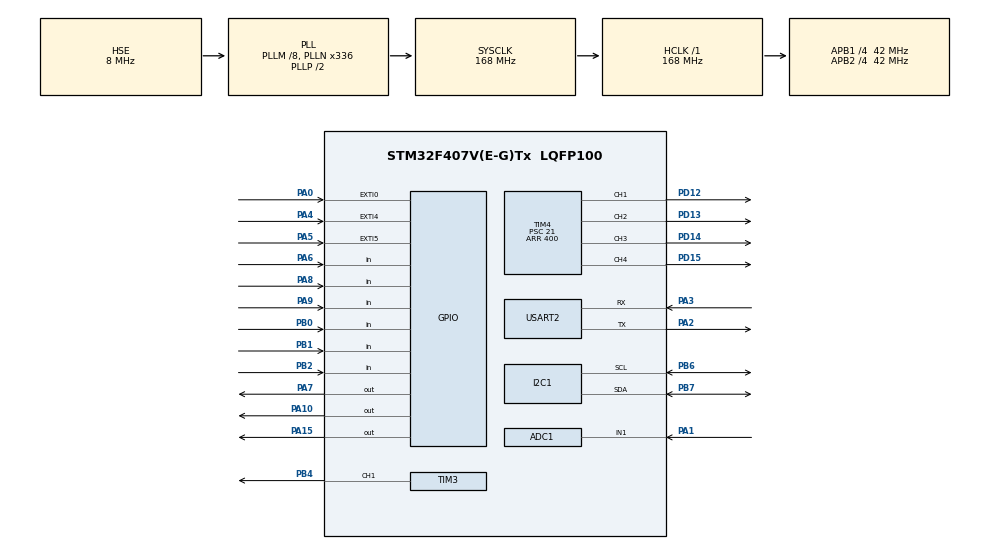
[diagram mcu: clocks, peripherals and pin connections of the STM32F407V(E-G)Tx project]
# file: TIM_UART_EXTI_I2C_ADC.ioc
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ADC1.Channel-0\#ChannelRegularConversion=ADC_CHANNEL_1
ADC1.ClockPrescaler=ADC_CLOCK_SYNC_PCLK_DIV2
ADC1.ContinuousConvMode=DISABLE
ADC1.DMAContinuousRequests=DISABLE
ADC1.DataAlign=ADC_DATAALIGN_RIGHT
ADC1.DiscontinuousConvMode=DISABLE
ADC1.EOCSelection=ADC_EOC_SINGLE_CONV
ADC1.EnableAnalogWatchDog=false
ADC1.ExternalTrigConvEdge=ADC_EXTERNALTRIGCONVEDGE_NONE
ADC1.InjNumberOfConversion=0
ADC1.NbrOfConversion=1
ADC1.NbrOfConversionFlag=1
ADC1.Rank-0\#ChannelRegularConversion=1
ADC1.Resolution=ADC_RESOLUTION_12B
ADC1.SamplingTime-0\#ChannelRegularConversion=ADC_SAMPLETIME_480CYCLES
ADC1.ScanConvMode=DISABLE
ADC1.master=1
Dma.I2C1_RX.1.Channel=DMA_CHANNEL_1
Dma.I2C1_RX.1.Direction=DMA_PERIPH_TO_MEMORY
Dma.I2C1_RX.1.FIFOMode=DMA_FIFOMODE_DISABLE
Dma.I2C1_RX.1.Instance=DMA1_Stream0
Dma.I2C1_RX.1.MemDataAlignment=DMA_MDATAALIGN_BYTE
Dma.I2C1_RX.1.MemInc=DMA_MINC_ENABLE
Dma.I2C1_RX.1.Mode=DMA_CIRCULAR
Dma.I2C1_RX.1.PeriphDataAlignment=DMA_PDATAALIGN_BYTE
Dma.I2C1_RX.1.PeriphInc=DMA_PINC_DISABLE
Dma.I2C1_RX.1.Priority=DMA_PRIORITY_LOW
Dma.Request0=USART2_RX
Dma.Request1=I2C1_RX
Dma.USART2_RX.0.Channel=DMA_CHANNEL_4
Dma.USART2_RX.0.Direction=DMA_PERIPH_TO_MEMORY
Dma.USART2_RX.0.FIFOMode=DMA_FIFOMODE_DISABLE
Dma.USART2_RX.0.Instance=DMA1_Stream5
Dma.USART2_RX.0.MemDataAlignment=DMA_MDATAALIGN_BYTE
Dma.USART2_RX.0.MemInc=DMA_MINC_ENABLE
Dma.USART2_RX.0.Mode=DMA_CIRCULAR
Dma.USART2_RX.0.PeriphDataAlignment=DMA_PDATAALIGN_BYTE
Dma.USART2_RX.0.PeriphInc=DMA_PINC_DISABLE
Dma.USART2_RX.0.Priority=DMA_PRIORITY_LOW
I2C1.I2C_Mode=I2C_Standard
Mcu.Family=STM32F4
Mcu.Name=STM32F407V(E-G)Tx
Mcu.Package=LQFP100
NVIC.ADC_IRQn=true\:0\:0\:false\:false\:true
NVIC.DMA1_Stream0_IRQn=true\:0\:0\:false\:false\:true
NVIC.DMA1_Stream5_IRQn=true\:0\:0\:false\:false\:true
NVIC.EXTI0_IRQn=true\:0\:0\:true\:false\:true
NVIC.EXTI4_IRQn=true\:1\:0\:true\:false\:true
NVIC.EXTI9_5_IRQn=true\:0\:0\:false\:false\:true
NVIC.I2C1_ER_IRQn=true\:0\:0\:false\:false\:true
NVIC.I2C1_EV_IRQn=true\:4\:0\:true\:false\:true
NVIC.PriorityGroup=NVIC_PRIORITYGROUP_4
NVIC.TIM2_IRQn=true\:2\:0\:true\:false\:true
NVIC.USART2_IRQn=true\:5\:0\:true\:false\:true
PA0-WKUP.GPIO_ModeDefaultEXTI=GPIO_MODE_IT_RISING
PA0-WKUP.Signal=GPXTI0
PA1.Signal=ADCx_IN1
PA10.GPIO_PuPd=GPIO_PULLDOWN
PA10.GPIO_Speed=GPIO_SPEED_FREQ_VERY_HIGH
PA10.PinState=GPIO_PIN_RESET
PA10.Signal=GPIO_Output
PA15.GPIO_PuPd=GPIO_PULLDOWN
PA15.GPIO_Speed=GPIO_SPEED_FREQ_VERY_HIGH
PA15.Signal=GPIO_Output
PA2.Mode=Asynchronous
PA2.Signal=USART2_TX
PA3.Mode=Asynchronous
PA3.Signal=USART2_RX
PA4.GPIO_PuPd=GPIO_PULLDOWN
PA4.Signal=GPXTI4
PA5.GPIO_PuPd=GPIO_PULLDOWN
PA5.Signal=GPXTI5
PA6.GPIO_PuPd=GPIO_PULLDOWN
PA6.Signal=GPIO_Input
PA7.GPIO_PuPd=GPIO_PULLDOWN
PA7.GPIO_Speed=GPIO_SPEED_FREQ_VERY_HIGH
PA7.Signal=GPIO_Output
PA8.GPIO_PuPd=GPIO_PULLDOWN
PA8.Signal=GPIO_Input
PA9.GPIO_PuPd=GPIO_PULLDOWN
PA9.Signal=GPIO_Input
PB0.GPIO_PuPd=GPIO_PULLDOWN
PB0.Signal=GPIO_Input
PB1.GPIO_PuPd=GPIO_PULLDOWN
PB1.Signal=GPIO_Input
PB2.GPIO_PuPd=GPIO_PULLDOWN
PB2.Signal=GPIO_Input
PB4.GPIO_Speed=GPIO_SPEED_FREQ_VERY_HIGH
PB4.Signal=S_TIM3_CH1
PB6.Mode=I2C
PB6.Signal=I2C1_SCL
PB7.Mode=I2C
PB7.Signal=I2C1_SDA
PD12.GPIO_ModeDefaultPP=GPIO_MODE_AF_PP
PD12.GPIO_PuPd=GPIO_NOPULL
PD12.GPIO_Speed=GPIO_SPEED_FREQ_VERY_HIGH
PD12.Signal=S_TIM4_CH1
PD13.GPIO_ModeDefaultPP=GPIO_MODE_AF_PP
PD13.GPIO_PuPd=GPIO_NOPULL
PD13.GPIO_Speed=GPIO_SPEED_FREQ_VERY_HIGH
PD13.Signal=S_TIM4_CH2
PD14.GPIO_ModeDefaultPP=GPIO_MODE_AF_PP
PD14.GPIO_PuPd=GPIO_NOPULL
PD14.GPIO_Speed=GPIO_SPEED_FREQ_VERY_HIGH
PD14.Signal=S_TIM4_CH3
PD15.GPIO_Speed=GPIO_SPEED_FREQ_VERY_HIGH
PD15.Signal=S_TIM4_CH4
PH0-OSC_IN.Mode=HSE-External-Oscillator
PH0-OSC_IN.Signal=RCC_OSC_IN
PH1-OSC_OUT.Mode=HSE-External-Oscillator
PH1-OSC_OUT.Signal=RCC_OSC_OUT
ProjectManager.HeapSize=0x200
ProjectManager.StackSize=0x400
ProjectManager.TargetToolchain=MDK-ARM V5
RCC.48MHZClocksFreq_Value=84000000
RCC.AHBFreq_Value=168000000
RCC.APB1CLKDivider=RCC_HCLK_DIV4
RCC.APB1Freq_Value=42000000
RCC.APB1TimFreq_Value=84000000
RCC.APB2CLKDivider=RCC_HCLK_DIV4
RCC.APB2Freq_Value=42000000
RCC.APB2TimFreq_Value=84000000
RCC.CortexFreq_Value=168000000
RCC.HCLKFreq_Value=168000000
RCC.HSE_VALUE=8000000
RCC.HSI_VALUE=16000000
RCC.LSE_VALUE=32768
RCC.PLLM=8
RCC.PLLN=336
RCC.PLLSourceVirtual=RCC_PLLSOURCE_HSE
RCC.SYSCLKFreq_VALUE=168000000
RCC.SYSCLKSource=RCC_SYSCLKSOURCE_PLLCLK
RCC.VCOOutputFreq_Value=336000000
SH.ADCx_IN1.0=ADC1_IN1,IN1
SH.S_TIM3_CH1.0=TIM3_CH1,PWM Generation1 CH1
SH.S_TIM4_CH1.0=TIM4_CH1,PWM Generation1 CH1
SH.S_TIM4_CH2.0=TIM4_CH2,PWM Generation2 CH2
SH.S_TIM4_CH3.0=TIM4_CH3,PWM Generation3 CH3
SH.S_TIM4_CH4.0=TIM4_CH4,PWM Generation4 CH4
TIM2.Period=1999
TIM2.Prescaler=42000
TIM3.Period=400
TIM3.Prescaler=21
TIM4.Channel-PWM\ Generation2\ CH2=TIM_CHANNEL_2
TIM4.Channel-PWM\ Generation3\ CH3=TIM_CHANNEL_3
TIM4.Channel-PWM\ Generation4\ CH4=TIM_CHANNEL_4
TIM4.Period=400
TIM4.Prescaler=21
VP_TIM2_VS_ClockSourceINT.Mode=Internal
VP_TIM3_VS_ClockSourceINT.Mode=Internal
VP_TIM4_VS_ClockSourceINT.Mode=Internal
board=TIM_UART_EXTI_I2C_ADC

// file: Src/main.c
#include "stm32f4xx_hal.h"

ADC_HandleTypeDef hadc1;

I2C_HandleTypeDef hi2c1;
DMA_HandleTypeDef hdma_i2c1_rx;

TIM_HandleTypeDef htim2;
TIM_HandleTypeDef htim3;
TIM_HandleTypeDef htim4;

UART_HandleTypeDef huart2;
DMA_HandleTypeDef hdma_usart2_rx;

/* USER CODE BEGIN PV */
/* Private variables ---------------------------------------------------------*/
uint8_t send_data[20], send_data_temp[20],i=0,receive_data[9],echo_receive_data[1],count=0;
char* data="92345\r";
uint16_t duty0=0,duty1=0,duty2=0,duty3=0,tmp_duty3=0,duty4=0,tmp_duty4=0,C=0,D=0,Output=0,Output1=0;
uint16_t start_hour=0,start_minute=0,time_out=0;
uint32_t pre_Pulse=0,Pulse=0,pulse=0,p=500,TocDoDat=0,Sampling_time=200,inv_Sampling_time=5;
uint32_t pre_Pulse1=0,Pulse1=0,pulse1=0,p1=500,TocDoDat1=0,time_copy=0,time=0;
uint32_t pre_Pulse2=0,Pulse2=0,pulse2=0,p2=500,TocDoDat2=0;
float Distance,Show = 0,Kp,Ki,Kd;
signed long des_Speed=400,rSpeed=0,Err=0,pre_Err=0,pre_pre_Err=0;
signed long rSpeed1=0,Err1=0,pre_Err1=0,pre_pre_Err1=0;
signed long rSpeed2=0,Err2=0,pre_Err2=0,pre_pre_Err2=0;
int start=0,run=0,sample_count=0,au=0,motor1=0,motor2=0,motor3=0,a=0,b=0,report=0,one_loop=0;
uint16_t stop_hour=0,stop_minute=0;
uint16_t adc_value,adc;
#define DS3231_ADD (0x68<<1)
#define DS3231_REG_TIME (0X00)
#define DS3231_REG_ALARM1 (0x07)
#define DS3231_REG_ALARM2 (0x0B)
#define DS3231_REG_CTRL (0x0E)
#define DS3231_REG_STATUS (0x0F)
#define DS3231_REG_TEMPERATURE (0x11)

typedef struct{
uint8_t sec;
uint8_t min;
uint8_t hour;
uint8_t day;
uint8_t date;
uint8_t month;
uint8_t year;

uint8_t I2C_Buffer[8];
}DS3231_t;
DS3231_t DS3231;
/* USER CODE END PV */

void SystemClock_Config(void);
static void MX_GPIO_Init(void);
static void MX_DMA_Init(void);
static void MX_TIM4_Init(void);
static void MX_USART2_UART_Init(void);
static void MX_I2C1_Init(void);
static void MX_ADC1_Init(void);
static void MX_TIM2_Init(void);
static void MX_TIM3_Init(void);

void HAL_TIM_MspPostInit(TIM_HandleTypeDef *htim);

void Motorpid(void);
void Motorpid_1(void);
void Duty_Config(void);
void Sonic(void);
void Go_Straight (void);
void Go_Back (void);
void Go_Left (void);
void Go_Right (void);
void Stop (void);
void Send_Data(void);
void Analyze_RecieveArray(void);
void Zigziag_Mode(void);

void HAL_TIM_MspPostInit(TIM_HandleTypeDef *htim);
uint8_t RTC_BCD2DEC(uint8_t e);
uint8_t RTC_DEC2BCD(uint8_t e);
void DEC_ASCII_3(uint16_t adc, uint8_t send_data_temp[20], uint8_t i);
void DEC_ASCII_2(uint8_t num, uint8_t send_data_temp[20], uint8_t i);
void I2C_WriteBuffer(I2C_HandleTypeDef hi, uint8_t DEV_ADDR, uint8_t sizebuf);
void I2C_ReadBuffer(I2C_HandleTypeDef hi, uint8_t DEV_ADDR, uint8_t sizebuf);
void RTC_GetTime(void);
void RTC_SetTime(uint8_t hour,uint8_t min,uint8_t sec,uint8_t day,uint8_t date,uint8_t month,uint8_t year);

void DEC_ASCII_3(uint16_t adc, uint8_t send_data_temp[20], uint8_t i)
{
	send_data_temp[i]=adc/100+48;
	send_data_temp[i+1]=(adc%100)/10+48;
	send_data_temp[i+2]=adc%10+48;
}

void DEC_ASCII_2(uint8_t num, uint8_t send_data_temp[20], uint8_t i)
{
	send_data_temp[i]=num/10+48;
	send_data_temp[i+1]=num%10+48;
}
uint8_t RTC_BCD2DEC(uint8_t e)
{
	return (e>>4)*10 + (e&0x0F);
}

uint8_t RTC_DEC2BCD(uint8_t e)
{
	return (e/10)<<4 | (e%10);
}

void I2C_WriteBuffer(I2C_HandleTypeDef hi, uint8_t DEV_ADDR, uint8_t sizebuf)
{
	while (HAL_I2C_Master_Transmit(&hi, (uint16_t) DEV_ADDR, (uint8_t*) &DS3231.I2C_Buffer, (uint16_t) sizebuf, (uint32_t)1000))
		{
			if(HAL_I2C_GetError(&hi) != HAL_I2C_ERROR_AF)
				{
					printf("Write Buffer Error\r\n");
				}
		}
}

void I2C_ReadBuffer(I2C_HandleTypeDef hi, uint8_t DEV_ADDR, uint8_t sizebuf)
{
	while(HAL_I2C_Master_Receive(&hi, (uint16_t) DEV_ADDR, (uint8_t*) &DS3231.I2C_Buffer, (uint16_t) sizebuf, (uint32_t)1000))
		{
			if(HAL_I2C_GetError(&hi) != HAL_I2C_ERROR_AF)
				{
					printf("Read Buffer Error\r\n");
				}
		}
}

void RTC_GetTime(void)
{
	//Bat dau qua trinh nhan du lieu tu thanh ghi 0x00
	DS3231.I2C_Buffer[0]=0x00;
	I2C_WriteBuffer(hi2c1,(uint16_t) DS3231_ADD,1);
	while (HAL_I2C_GetState(&hi2c1) != HAL_I2C_STATE_READY);
	I2C_ReadBuffer(hi2c1,(uint16_t) DS3231_ADD,7);

	DS3231.sec = RTC_BCD2DEC(DS3231.I2C_Buffer[0]);
	DS3231.min = RTC_BCD2DEC(DS3231.I2C_Buffer[1]);
	DS3231.hour = RTC_BCD2DEC(DS3231.I2C_Buffer[2]);
	DS3231.day = RTC_BCD2DEC(DS3231.I2C_Buffer[3]);
	DS3231.date = RTC_BCD2DEC(DS3231.I2C_Buffer[4]);
	DS3231.month = RTC_BCD2DEC(DS3231.I2C_Buffer[5]);
	DS3231.year = RTC_BCD2DEC(DS3231.I2C_Buffer[6]);
}

void RTC_SetTime(uint8_t hour,uint8_t min,uint8_t sec,uint8_t day,uint8_t date,uint8_t month,uint8_t year)
{
	DS3231.I2C_Buffer[0] = 0x00;
	DS3231.I2C_Buffer[1] = RTC_DEC2BCD(sec);
	DS3231.I2C_Buffer[2] = RTC_DEC2BCD(min);
	DS3231.I2C_Buffer[3] = RTC_DEC2BCD(hour);
	DS3231.I2C_Buffer[4] = RTC_DEC2BCD(day);
	DS3231.I2C_Buffer[5] = RTC_DEC2BCD(date);
	DS3231.I2C_Buffer[6] = RTC_DEC2BCD(month);
	DS3231.I2C_Buffer[7] = RTC_DEC2BCD(year);

	I2C_WriteBuffer(hi2c1,(uint16_t) DS3231_ADD,8);
	HAL_Delay(100);
}

void delay_us(uint16_t period){

   __HAL_RCC_TIM6_CLK_ENABLE();
     TIM6->PSC = 83;      // clk = SystemCoreClock /2/(PSC+1) = 1MHz
     TIM6->ARR = period-1;
     TIM6->CNT = 0;
     TIM6->EGR = 1;      // update registers;

     TIM6->SR  = 0;      // clear overflow flag
     TIM6->CR1 = 1;      // enable Timer6

     while (!TIM6->SR);

     TIM6->CR1 = 0;      // stop Timer6
     //RCC_APB1PeriphClockCmd(RCC_APB1Periph_TIM6, DISABLE);
   __HAL_RCC_TIM6_CLK_DISABLE();
}
void delay_01ms(uint16_t period){

   __HAL_RCC_TIM6_CLK_ENABLE();
     //RCC_APB1PeriphClockCmd(RCC_APB1Periph_TIM6, ENABLE);
     TIM6->PSC = 8399;      // clk = SystemCoreClock /2 /(PSC+1) = 10KHz
     TIM6->ARR = period-1;
     TIM6->CNT = 0;
     TIM6->EGR = 1;      // update registers;

     TIM6->SR  = 0;      // clear overflow flag
     TIM6->CR1 = 1;      // enable Timer6

     while (!TIM6->SR);

     TIM6->CR1 = 0;      // stop Timer6
     //RCC_APB1PeriphClockCmd(RCC_APB1Periph_TIM6, DISABLE);
   __HAL_RCC_TIM6_CLK_DISABLE();
}

int main(void)
{
  /* Reset of all peripherals, Initializes the Flash interface and the Systick. */
  HAL_Init();

  /* Configure the system clock */
  SystemClock_Config();

  /* Initialize all configured peripherals */
  MX_GPIO_Init();
  MX_DMA_Init();
  MX_TIM4_Init();
  MX_USART2_UART_Init();
  MX_I2C1_Init();
  MX_ADC1_Init();
  MX_TIM2_Init();
  MX_TIM3_Init();

	 HAL_TIM_PWM_Start(&htim4,TIM_CHANNEL_1);
   HAL_TIM_PWM_Start(&htim4,TIM_CHANNEL_2);
   HAL_TIM_PWM_Start(&htim4,TIM_CHANNEL_3);
   HAL_TIM_PWM_Start(&htim4,TIM_CHANNEL_4);
	 HAL_TIM_PWM_Start(&htim3,TIM_CHANNEL_1);
	 HAL_TIM_Base_Start_IT(&htim2);
	 HAL_UART_Receive_DMA(&huart2,receive_data,9);

  /* USER CODE BEGIN WHILE */
  while (1)
  {
		RTC_GetTime();
		HAL_ADC_Start_IT(&hadc1);
		HAL_Delay(100);
		HAL_ADC_Stop_IT(&hadc1);
		//Analyze_RecieveArray();
		Send_Data();

		des_Speed=400;					//set up setpoint PID
		Kp=0.05;
		Ki=0.01;
		Kd=0;
		duty4=200;
		if (start==1)
			{
				if(au==1&&run==1)
				{
					Go_Straight();
				}

				if(au==0)
				{		duty3= tmp_duty3;duty4= tmp_duty4;
						if(receive_data[0]=='t')Go_Left();		//trai
						if(receive_data[0]=='p')Go_Right();		//phai
						if(receive_data[0]=='h')Go_Straight();//di thang
						if(receive_data[0]=='d')Stop();				//dung lai
						if(receive_data[0]=='l')Go_Back();		//di lui
				}
			}

  }
  /* USER CODE END 3 */

}

void Send_Data(void)
{
		//send value
		DEC_ASCII_3(adc_value*100/4096,send_data,0); //ADC value (battery)
		DEC_ASCII_3(100-adc_value*100/4096,send_data,3); //COMPLETE VALUE
		//send time
		DEC_ASCII_2(DS3231.sec,send_data,6);		//second
		DEC_ASCII_2(DS3231.min,send_data,8);		//minutes
		DEC_ASCII_2(DS3231.hour,send_data,10);		//hours
		DEC_ASCII_2(DS3231.date,send_data,12);		//day
		DEC_ASCII_2(DS3231.month,send_data,14);		//month
		send_data[17]= '\r';
		HAL_UART_Transmit_IT(&huart2,(uint8_t  *)send_data,18);

}

void Analyze_RecieveArray(void)
{
		if(receive_data[0]=='S')
				{
						start=1;report=0;tmp_duty4=200;
						if(receive_data[1]=='L')tmp_duty3=250;
						if(receive_data[1]=='M')tmp_duty3=325;
						if(receive_data[1]=='H')tmp_duty3=400;
						if(receive_data[8]=='a')au=1;
						if(receive_data[8]=='m')au=0;
						  time_out=(receive_data[2]-48)*10+(receive_data[3]-48);
							start_hour=(receive_data[4]-48)*10+(receive_data[5]-48);
							start_minute=(receive_data[6]-48)*10+(receive_data[7]-48);
							stop_hour=(start_hour*60+start_minute+time_out)/60;
							stop_minute=(start_hour*60+start_minute+time_out)%60;
				}
		if(receive_data[0]=='D')
				{
					start=0;
					report=1;
					Stop();
					duty3=0;tmp_duty3=0;
					duty4=0;tmp_duty4=0;
				}
		send_data[16]='0';
		if((DS3231.hour==start_hour&&DS3231.min==start_minute)||(start_hour==0&&start_minute==0))
		{run=1;duty3=tmp_duty3;duty4=tmp_duty4;}
		else if(DS3231.hour>=stop_hour&&DS3231.min>=stop_minute&&time_out!=0&&run==1)
		{run=0;Stop();duty3=0;duty4=0;send_data[16]='s';}
}

void Zigziag_Mode(void)
{				//Sonic();
						if(HAL_GPIO_ReadPin(GPIOB,GPIO_PIN_0) == 1 ||HAL_GPIO_ReadPin(GPIOB,GPIO_PIN_1) == 0||HAL_GPIO_ReadPin(GPIOA,GPIO_PIN_7) == 0|| Show<3)
										 {
											if(b==1)
											 {Stop();HAL_Delay(1000);
												 b=0;
												 }
											 Go_Back();
											  //HAL_Delay(2000);
												a=1;
										 }
						 else
										 {
											 if(a==1)
												 {
												Stop();HAL_Delay(1000);
												Go_Left();HAL_Delay(2000);
												a=0;
													}
												Go_Straight();
													b=1;
										 }
}

void HAL_ADC_ConvCpltCallback(ADC_HandleTypeDef* hadc)
{
	if(hadc->Instance == hadc1.Instance)
	{
			adc_value = HAL_ADC_GetValue(hadc);
	}
}

void Go_Straight (void)
{
	motor1=1;motor2=1;
//	duty0=200;duty2=200;
}
void Go_Back (void)
{
	motor3=1;
//	duty1=200;
}
void Go_Left (void)
{
	motor1=1;
//	duty0=200;
}
void Go_Right (void)
{
	motor2=1;
//	duty2=200;
}
void Stop(void)
{
	motor1=0,motor2=0,motor3=0;
	duty0=0;duty1=0;duty2=0;
	Output=0;Output1=0;

}

void Motorpid_1(void)
{

rSpeed=(Pulse-pre_Pulse)*300/400; //tinh van toc (trong sampling time)
pre_Pulse=Pulse;
Err=des_Speed-rSpeed;
Output = Output+Kp*Err+Ki*Sampling_time*(Err+pre_Err)/(2000)+Kd*(Err-2*pre_Err+pre_pre_Err)*inv_Sampling_time;
if (Output >700) Output=400;
if (Output <=0) Output=0;
if(motor1==1)duty1=Output;
if (motor3==1)duty0=Output;
if(motor1==0 && motor3==0)Output=0;
//Duty_Config();
pre_pre_Err= pre_Err;
pre_Err=Err;
}

void Motorpid_2(void)
{
rSpeed1=(Pulse1-pre_Pulse1)*300/400; //tinh van toc (trong sampling time)
pre_Pulse1=Pulse1;
Err1=des_Speed-rSpeed1;
Output1 = Output1+Kp*Err1+Ki*Sampling_time*(Err1+pre_Err1)/(2000)+Kd*(Err1-2*pre_Err1+pre_pre_Err1)*inv_Sampling_time;
if (Output1 >700) Output1=400;
if (Output1 <=0) Output1=0;
if(motor2==1)duty2=Output1;
if(motor2==0)Output1=0;
//Duty_Config();
pre_pre_Err1= pre_Err1;
pre_Err1=Err1;
}

void HAL_TIM_PeriodElapsedCallback(TIM_HandleTypeDef *htim)
{
	if(htim->Instance==htim2.Instance)
	{
		C=300*pulse/400;
		D=300*pulse1/400;
		Motorpid_1();
		Motorpid_2();
		pulse=0;pulse1=0;
		Duty_Config();
		//sample_count++;
		//Duty_Config();
	}
}

void HAL_GPIO_EXTI_Callback(uint16_t GPIO_Pin)
{
		if(GPIO_Pin==GPIO_PIN_5)
		{
				Pulse++;
				pulse++;
					//while(HAL_GPIO_ReadPin(GPIOA,GPIO_PIN_0));
		}
		if(GPIO_Pin==GPIO_PIN_4)
		{
				Pulse1++;
				pulse1++;
					//   HAL_GPIO_TogglePin(GPIOD,GPIO_PIN_13);
				 //while(HAL_GPIO_ReadPin(GPIOA,GPIO_PIN_4));
		}

}

void Duty_Config(void)
{			__HAL_TIM_SetCompare(&htim4,TIM_CHANNEL_1,duty0);		//motor driver
      __HAL_TIM_SetCompare(&htim4,TIM_CHANNEL_2,duty1);		//motor driver
      __HAL_TIM_SetCompare(&htim4,TIM_CHANNEL_3,duty2);		//motor driver
      __HAL_TIM_SetCompare(&htim4,TIM_CHANNEL_4,duty3);		//vacuum cleaner

			__HAL_TIM_SetCompare(&htim3,TIM_CHANNEL_1,duty4);		//motor clean
}

void Sonic(void)
{
 HAL_GPIO_WritePin(GPIOA, GPIO_PIN_10, GPIO_PIN_RESET);
     delay_us(2); //2 micro seconds

      //then we create a pulse for 10us
         HAL_GPIO_WritePin(GPIOA, GPIO_PIN_10, GPIO_PIN_SET);
         delay_us(10);
         HAL_GPIO_WritePin(GPIOA, GPIO_PIN_10, GPIO_PIN_RESET);

         time=0;

      while (HAL_GPIO_ReadPin(GPIOA,GPIO_PIN_8) == 0);
      while (HAL_GPIO_ReadPin(GPIOA,GPIO_PIN_8))
      {
         time++;
         delay_us(2); // delay 2 us
         time_copy=time;
         Distance=(float)(time_copy*0.0346);
      }
			  HAL_Delay(50);
}

/** System Clock Configuration
*/

/** System Clock Configuration
*/
/* USER CODE END PV */

/** System Clock Configuration
*/
void SystemClock_Config(void)
{

  RCC_OscInitTypeDef RCC_OscInitStruct;
  RCC_ClkInitTypeDef RCC_ClkInitStruct;

  __HAL_RCC_PWR_CLK_ENABLE();

  __HAL_PWR_VOLTAGESCALING_CONFIG(PWR_REGULATOR_VOLTAGE_SCALE1);

  RCC_OscInitStruct.OscillatorType = RCC_OSCILLATORTYPE_HSE;
  RCC_OscInitStruct.HSEState = RCC_HSE_ON;
  RCC_OscInitStruct.PLL.PLLState = RCC_PLL_ON;
  RCC_OscInitStruct.PLL.PLLSource = RCC_PLLSOURCE_HSE;
  RCC_OscInitStruct.PLL.PLLM = 8;
  RCC_OscInitStruct.PLL.PLLN = 336;
  RCC_OscInitStruct.PLL.PLLP = RCC_PLLP_DIV2;
  RCC_OscInitStruct.PLL.PLLQ = 4;
  HAL_RCC_OscConfig(&RCC_OscInitStruct);

  RCC_ClkInitStruct.ClockType = RCC_CLOCKTYPE_HCLK|RCC_CLOCKTYPE_SYSCLK
                              |RCC_CLOCKTYPE_PCLK1|RCC_CLOCKTYPE_PCLK2;
  RCC_ClkInitStruct.SYSCLKSource = RCC_SYSCLKSOURCE_PLLCLK;
  RCC_ClkInitStruct.AHBCLKDivider = RCC_SYSCLK_DIV1;
  RCC_ClkInitStruct.APB1CLKDivider = RCC_HCLK_DIV4;
  RCC_ClkInitStruct.APB2CLKDivider = RCC_HCLK_DIV4;
  HAL_RCC_ClockConfig(&RCC_ClkInitStruct, FLASH_LATENCY_5);

  HAL_SYSTICK_Config(HAL_RCC_GetHCLKFreq()/1000);

  HAL_SYSTICK_CLKSourceConfig(SYSTICK_CLKSOURCE_HCLK);

  /* SysTick_IRQn interrupt configuration */
  HAL_NVIC_SetPriority(SysTick_IRQn, 0, 0);
}

/* ADC1 init function */
void MX_ADC1_Init(void)
{

  ADC_ChannelConfTypeDef sConfig;

    /**Configure the global features of the ADC (Clock, Resolution, Data Alignment and number of conversion)
    */
  hadc1.Instance = ADC1;
  hadc1.Init.ClockPrescaler = ADC_CLOCK_SYNC_PCLK_DIV2;
  hadc1.Init.Resolution = ADC_RESOLUTION_12B;
  hadc1.Init.ScanConvMode = DISABLE;
  hadc1.Init.ContinuousConvMode = DISABLE;
  hadc1.Init.DiscontinuousConvMode = DISABLE;
  hadc1.Init.ExternalTrigConvEdge = ADC_EXTERNALTRIGCONVEDGE_NONE;
  hadc1.Init.DataAlign = ADC_DATAALIGN_RIGHT;
  hadc1.Init.NbrOfConversion = 1;
  hadc1.Init.DMAContinuousRequests = DISABLE;
  hadc1.Init.EOCSelection = ADC_EOC_SINGLE_CONV;
  HAL_ADC_Init(&hadc1);

    /**Configure for the selected ADC regular channel its corresponding rank in the sequencer and its sample time.
    */
  sConfig.Channel = ADC_CHANNEL_1;
  sConfig.Rank = 1;
  sConfig.SamplingTime = ADC_SAMPLETIME_480CYCLES;
  HAL_ADC_ConfigChannel(&hadc1, &sConfig);

}

/* I2C1 init function */
void MX_I2C1_Init(void)
{

  hi2c1.Instance = I2C1;
  hi2c1.Init.ClockSpeed = 100000;
  hi2c1.Init.DutyCycle = I2C_DUTYCYCLE_2;
  hi2c1.Init.OwnAddress1 = 0;
  hi2c1.Init.AddressingMode = I2C_ADDRESSINGMODE_7BIT;
  hi2c1.Init.DualAddressMode = I2C_DUALADDRESS_DISABLE;
  hi2c1.Init.OwnAddress2 = 0;
  hi2c1.Init.GeneralCallMode = I2C_GENERALCALL_DISABLE;
  hi2c1.Init.NoStretchMode = I2C_NOSTRETCH_DISABLE;
  HAL_I2C_Init(&hi2c1);

}

/* TIM2 init function */
void MX_TIM2_Init(void)
{

  TIM_ClockConfigTypeDef sClockSourceConfig;
  TIM_MasterConfigTypeDef sMasterConfig;

  htim2.Instance = TIM2;
  htim2.Init.Prescaler = 42000;
  htim2.Init.CounterMode = TIM_COUNTERMODE_UP;
  htim2.Init.Period = 1999;
  htim2.Init.ClockDivision = TIM_CLOCKDIVISION_DIV1;
  HAL_TIM_Base_Init(&htim2);

  sClockSourceConfig.ClockSource = TIM_CLOCKSOURCE_INTERNAL;
  HAL_TIM_ConfigClockSource(&htim2, &sClockSourceConfig);

  sMasterConfig.MasterOutputTrigger = TIM_TRGO_RESET;
  sMasterConfig.MasterSlaveMode = TIM_MASTERSLAVEMODE_DISABLE;
  HAL_TIMEx_MasterConfigSynchronization(&htim2, &sMasterConfig);

}

/* TIM3 init function */
void MX_TIM3_Init(void)
{

  TIM_ClockConfigTypeDef sClockSourceConfig;
  TIM_MasterConfigTypeDef sMasterConfig;
  TIM_OC_InitTypeDef sConfigOC;

  htim3.Instance = TIM3;
  htim3.Init.Prescaler = 21;
  htim3.Init.CounterMode = TIM_COUNTERMODE_UP;
  htim3.Init.Period = 400;
  htim3.Init.ClockDivision = TIM_CLOCKDIVISION_DIV1;
  HAL_TIM_Base_Init(&htim3);

  sClockSourceConfig.ClockSource = TIM_CLOCKSOURCE_INTERNAL;
  HAL_TIM_ConfigClockSource(&htim3, &sClockSourceConfig);

  HAL_TIM_PWM_Init(&htim3);

  sMasterConfig.MasterOutputTrigger = TIM_TRGO_RESET;
  sMasterConfig.MasterSlaveMode = TIM_MASTERSLAVEMODE_DISABLE;
  HAL_TIMEx_MasterConfigSynchronization(&htim3, &sMasterConfig);

  sConfigOC.OCMode = TIM_OCMODE_PWM1;
  sConfigOC.Pulse = 0;
  sConfigOC.OCPolarity = TIM_OCPOLARITY_HIGH;
  sConfigOC.OCFastMode = TIM_OCFAST_DISABLE;
  HAL_TIM_PWM_ConfigChannel(&htim3, &sConfigOC, TIM_CHANNEL_1);

  HAL_TIM_MspPostInit(&htim3);

}

/* TIM4 init function */
void MX_TIM4_Init(void)
{

  TIM_ClockConfigTypeDef sClockSourceConfig;
  TIM_MasterConfigTypeDef sMasterConfig;
  TIM_OC_InitTypeDef sConfigOC;

  htim4.Instance = TIM4;
  htim4.Init.Prescaler = 21;
  htim4.Init.CounterMode = TIM_COUNTERMODE_UP;
  htim4.Init.Period = 400;
  htim4.Init.ClockDivision = TIM_CLOCKDIVISION_DIV1;
  HAL_TIM_Base_Init(&htim4);

  sClockSourceConfig.ClockSource = TIM_CLOCKSOURCE_INTERNAL;
  HAL_TIM_ConfigClockSource(&htim4, &sClockSourceConfig);

  HAL_TIM_PWM_Init(&htim4);

  sMasterConfig.MasterOutputTrigger = TIM_TRGO_RESET;
  sMasterConfig.MasterSlaveMode = TIM_MASTERSLAVEMODE_DISABLE;
  HAL_TIMEx_MasterConfigSynchronization(&htim4, &sMasterConfig);

  sConfigOC.OCMode = TIM_OCMODE_PWM1;
  sConfigOC.Pulse = 0;
  sConfigOC.OCPolarity = TIM_OCPOLARITY_HIGH;
  sConfigOC.OCFastMode = TIM_OCFAST_DISABLE;
  HAL_TIM_PWM_ConfigChannel(&htim4, &sConfigOC, TIM_CHANNEL_1);

  HAL_TIM_PWM_ConfigChannel(&htim4, &sConfigOC, TIM_CHANNEL_2);

  HAL_TIM_PWM_ConfigChannel(&htim4, &sConfigOC, TIM_CHANNEL_3);

  HAL_TIM_PWM_ConfigChannel(&htim4, &sConfigOC, TIM_CHANNEL_4);

  HAL_TIM_MspPostInit(&htim4);

}

/* USART2 init function */
void MX_USART2_UART_Init(void)
{

  huart2.Instance = USART2;
  huart2.Init.BaudRate = 115200;
  huart2.Init.WordLength = UART_WORDLENGTH_8B;
  huart2.Init.StopBits = UART_STOPBITS_1;
  huart2.Init.Parity = UART_PARITY_NONE;
  huart2.Init.Mode = UART_MODE_TX_RX;
  huart2.Init.HwFlowCtl = UART_HWCONTROL_NONE;
  huart2.Init.OverSampling = UART_OVERSAMPLING_16;
  HAL_UART_Init(&huart2);

}

void MX_DMA_Init(void)
{
  /* DMA controller clock enable */
  __HAL_RCC_DMA1_CLK_ENABLE();

  /* DMA interrupt init */
  /* DMA1_Stream0_IRQn interrupt configuration */
  HAL_NVIC_SetPriority(DMA1_Stream0_IRQn, 0, 0);
  HAL_NVIC_EnableIRQ(DMA1_Stream0_IRQn);
  /* DMA1_Stream5_IRQn interrupt configuration */
  HAL_NVIC_SetPriority(DMA1_Stream5_IRQn, 0, 0);
  HAL_NVIC_EnableIRQ(DMA1_Stream5_IRQn);

}

/** Configure pins as
        * Analog
        * Input
        * Output
        * EVENT_OUT
        * EXTI
*/
void MX_GPIO_Init(void)
{

  GPIO_InitTypeDef GPIO_InitStruct;

  /* GPIO Ports Clock Enable */
  __HAL_RCC_GPIOH_CLK_ENABLE();
  __HAL_RCC_GPIOA_CLK_ENABLE();
  __HAL_RCC_GPIOB_CLK_ENABLE();
  __HAL_RCC_GPIOD_CLK_ENABLE();

  /*Configure GPIO pin : PA0 */
  GPIO_InitStruct.Pin = GPIO_PIN_0;
  GPIO_InitStruct.Mode = GPIO_MODE_IT_RISING;
  GPIO_InitStruct.Pull = GPIO_NOPULL;
  HAL_GPIO_Init(GPIOA, &GPIO_InitStruct);

  /*Configure GPIO pins : PA4 PA5 */
  GPIO_InitStruct.Pin = GPIO_PIN_4|GPIO_PIN_5;
  GPIO_InitStruct.Mode = GPIO_MODE_IT_RISING;
  GPIO_InitStruct.Pull = GPIO_PULLDOWN;
  HAL_GPIO_Init(GPIOA, &GPIO_InitStruct);

  /*Configure GPIO pins : PA6 PA8 PA9 */
  GPIO_InitStruct.Pin = GPIO_PIN_6|GPIO_PIN_8|GPIO_PIN_9;
  GPIO_InitStruct.Mode = GPIO_MODE_INPUT;
  GPIO_InitStruct.Pull = GPIO_PULLDOWN;
  HAL_GPIO_Init(GPIOA, &GPIO_InitStruct);

  /*Configure GPIO pins : PA7 PA10 PA15 */
  GPIO_InitStruct.Pin = GPIO_PIN_7|GPIO_PIN_10|GPIO_PIN_15;
  GPIO_InitStruct.Mode = GPIO_MODE_OUTPUT_PP;
  GPIO_InitStruct.Pull = GPIO_PULLDOWN;
  GPIO_InitStruct.Speed = GPIO_SPEED_FREQ_VERY_HIGH;
  HAL_GPIO_Init(GPIOA, &GPIO_InitStruct);

  /*Configure GPIO pins : PB0 PB1 PB2 */
  GPIO_InitStruct.Pin = GPIO_PIN_0|GPIO_PIN_1|GPIO_PIN_2;
  GPIO_InitStruct.Mode = GPIO_MODE_INPUT;
  GPIO_InitStruct.Pull = GPIO_PULLDOWN;
  HAL_GPIO_Init(GPIOB, &GPIO_InitStruct);

  /*Configure GPIO pin Output Level */
  HAL_GPIO_WritePin(GPIOA, GPIO_PIN_7|GPIO_PIN_10|GPIO_PIN_15, GPIO_PIN_RESET);

  /* EXTI interrupt init*/
  HAL_NVIC_SetPriority(EXTI0_IRQn, 0, 0);
  HAL_NVIC_EnableIRQ(EXTI0_IRQn);

  HAL_NVIC_SetPriority(EXTI4_IRQn, 1, 0);
  HAL_NVIC_EnableIRQ(EXTI4_IRQn);

  HAL_NVIC_SetPriority(EXTI9_5_IRQn, 0, 0);
  HAL_NVIC_EnableIRQ(EXTI9_5_IRQn);

}

/************************ (C) COPYRIGHT STMicroelectronics *****END OF FILE****/
